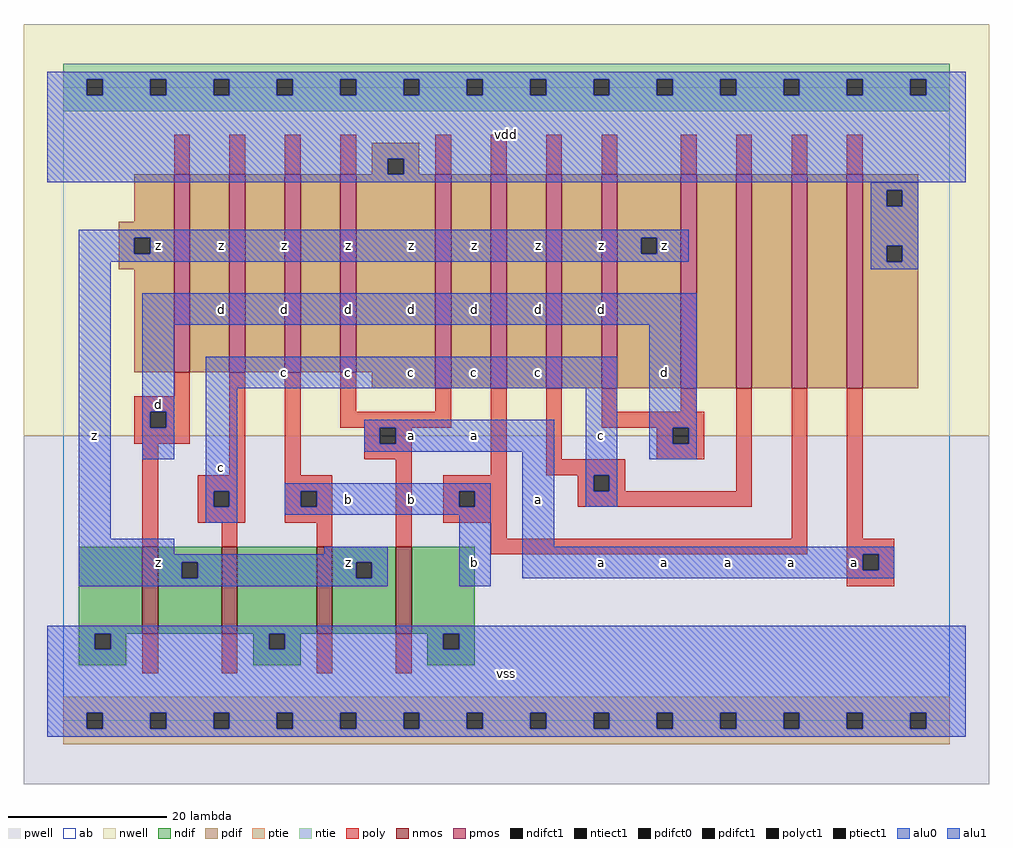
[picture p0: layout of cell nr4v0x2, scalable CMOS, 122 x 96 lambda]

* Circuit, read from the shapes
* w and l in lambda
.subckt nr4v0x2 a b c d vdd vss z
M1 z d vss vss nfet w=11 l=2
M2 vss c z vss nfet w=11 l=2
M3 z b vss vss nfet w=11 l=2
M4 vss a z vss nfet w=11 l=2
M5 n1 d z vdd pfet w=25 l=2
M6 n2 c n1 vdd pfet w=25 l=2
M7 n3 b n2 vdd pfet w=25 l=2
M8 vdd a n3 vdd pfet w=25 l=2
M9 n4 a vdd vdd pfet w=27 l=2
M10 n5 b n4 vdd pfet w=27 l=2
M11 n6 c n5 vdd pfet w=27 l=2
M12 z d n6 vdd pfet w=27 l=2
M13 n7 d z vdd pfet w=27 l=2
M14 n8 c n7 vdd pfet w=27 l=2
M15 n9 b n8 vdd pfet w=27 l=2
M16 vdd a n9 vdd pfet w=27 l=2
.ends

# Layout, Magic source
magic
tech scmos
<< ab >>
rect 0 0 112 80
<< nwell >>
rect -5 36 117 88
<< pwell >>
rect -5 -8 117 36
<< poly >>
rect 14 69 16 74
rect 21 69 23 74
rect 28 69 30 74
rect 35 69 37 74
rect 47 69 49 74
rect 54 69 56 74
rect 61 69 63 74
rect 68 69 70 74
rect 78 69 80 74
rect 85 69 87 74
rect 92 69 94 74
rect 99 69 101 74
rect 14 41 16 44
rect 9 39 16 41
rect 9 37 11 39
rect 13 37 16 39
rect 9 35 16 37
rect 10 22 12 35
rect 21 31 23 44
rect 17 29 23 31
rect 17 27 19 29
rect 21 27 23 29
rect 17 25 23 27
rect 28 31 30 44
rect 35 39 37 44
rect 47 39 49 42
rect 35 37 49 39
rect 38 35 40 37
rect 42 35 44 37
rect 38 33 44 35
rect 28 29 34 31
rect 28 27 30 29
rect 32 27 34 29
rect 28 25 34 27
rect 20 22 22 25
rect 32 22 34 25
rect 42 22 44 33
rect 54 31 56 42
rect 61 33 63 42
rect 68 39 70 42
rect 78 39 80 42
rect 68 37 81 39
rect 75 35 77 37
rect 79 35 81 37
rect 75 33 81 35
rect 61 31 71 33
rect 48 29 56 31
rect 48 27 50 29
rect 52 27 56 29
rect 65 29 67 31
rect 69 29 71 31
rect 85 29 87 42
rect 65 27 87 29
rect 48 25 56 27
rect 54 23 56 25
rect 92 23 94 42
rect 54 21 94 23
rect 99 23 101 42
rect 99 21 105 23
rect 99 19 101 21
rect 103 19 105 21
rect 99 17 105 19
rect 10 6 12 11
rect 20 6 22 11
rect 32 6 34 11
rect 42 6 44 11
<< ndif >>
rect 2 11 10 22
rect 12 20 20 22
rect 12 18 15 20
rect 17 18 20 20
rect 12 11 20 18
rect 22 11 32 22
rect 34 20 42 22
rect 34 18 37 20
rect 39 18 42 20
rect 34 11 42 18
rect 44 11 52 22
rect 2 9 4 11
rect 6 9 8 11
rect 2 7 8 9
rect 24 9 26 11
rect 28 9 30 11
rect 24 7 30 9
rect 46 9 48 11
rect 50 9 52 11
rect 46 7 52 9
<< pdif >>
rect 39 71 45 73
rect 39 69 41 71
rect 43 69 45 71
rect 9 63 14 69
rect 7 61 14 63
rect 7 59 9 61
rect 11 59 14 61
rect 7 57 14 59
rect 9 44 14 57
rect 16 44 21 69
rect 23 44 28 69
rect 30 44 35 69
rect 37 44 47 69
rect 39 42 47 44
rect 49 42 54 69
rect 56 42 61 69
rect 63 42 68 69
rect 70 61 78 69
rect 70 59 73 61
rect 75 59 78 61
rect 70 42 78 59
rect 80 42 85 69
rect 87 42 92 69
rect 94 42 99 69
rect 101 67 108 69
rect 101 65 104 67
rect 106 65 108 67
rect 101 60 108 65
rect 101 58 104 60
rect 106 58 108 60
rect 101 42 108 58
<< alu1 >>
rect -2 81 114 82
rect -2 79 3 81
rect 5 79 11 81
rect 13 79 19 81
rect 21 79 27 81
rect 29 79 35 81
rect 37 79 43 81
rect 45 79 51 81
rect 53 79 59 81
rect 61 79 67 81
rect 69 79 75 81
rect 77 79 83 81
rect 85 79 91 81
rect 93 79 99 81
rect 101 79 107 81
rect 109 79 114 81
rect -2 71 114 79
rect -2 69 41 71
rect 43 69 114 71
rect -2 68 114 69
rect 2 61 79 62
rect 2 59 9 61
rect 11 59 73 61
rect 75 59 79 61
rect 2 58 79 59
rect 2 23 6 58
rect 10 50 80 54
rect 10 39 14 50
rect 10 37 11 39
rect 13 37 14 39
rect 10 33 14 37
rect 18 42 70 46
rect 18 29 22 42
rect 38 37 62 38
rect 38 35 40 37
rect 42 35 62 37
rect 38 34 62 35
rect 18 27 19 29
rect 21 27 22 29
rect 18 25 22 27
rect 28 29 54 30
rect 28 27 30 29
rect 32 27 50 29
rect 52 27 54 29
rect 28 26 54 27
rect 2 21 14 23
rect 33 21 41 22
rect 2 20 41 21
rect 2 18 15 20
rect 17 18 37 20
rect 39 18 41 20
rect 2 17 41 18
rect 50 17 54 26
rect 58 22 62 34
rect 66 31 70 42
rect 74 37 80 50
rect 74 35 77 37
rect 79 35 80 37
rect 74 33 80 35
rect 66 29 67 31
rect 69 29 70 31
rect 66 27 70 29
rect 58 21 105 22
rect 58 19 101 21
rect 103 19 105 21
rect 58 18 105 19
rect -2 11 114 12
rect -2 9 4 11
rect 6 9 26 11
rect 28 9 48 11
rect 50 9 114 11
rect -2 1 114 9
rect -2 -1 3 1
rect 5 -1 11 1
rect 13 -1 19 1
rect 21 -1 27 1
rect 29 -1 35 1
rect 37 -1 43 1
rect 45 -1 51 1
rect 53 -1 59 1
rect 61 -1 67 1
rect 69 -1 75 1
rect 77 -1 83 1
rect 85 -1 91 1
rect 93 -1 99 1
rect 101 -1 107 1
rect 109 -1 114 1
rect -2 -2 114 -1
<< ptie >>
rect 0 1 112 3
rect 0 -1 3 1
rect 5 -1 11 1
rect 13 -1 19 1
rect 21 -1 27 1
rect 29 -1 35 1
rect 37 -1 43 1
rect 45 -1 51 1
rect 53 -1 59 1
rect 61 -1 67 1
rect 69 -1 75 1
rect 77 -1 83 1
rect 85 -1 91 1
rect 93 -1 99 1
rect 101 -1 107 1
rect 109 -1 112 1
rect 0 -3 112 -1
<< ntie >>
rect 0 81 112 83
rect 0 79 3 81
rect 5 79 11 81
rect 13 79 19 81
rect 21 79 27 81
rect 29 79 35 81
rect 37 79 43 81
rect 45 79 51 81
rect 53 79 59 81
rect 61 79 67 81
rect 69 79 75 81
rect 77 79 83 81
rect 85 79 91 81
rect 93 79 99 81
rect 101 79 107 81
rect 109 79 112 81
rect 0 77 112 79
<< nmos >>
rect 10 11 12 22
rect 20 11 22 22
rect 32 11 34 22
rect 42 11 44 22
<< pmos >>
rect 14 44 16 69
rect 21 44 23 69
rect 28 44 30 69
rect 35 44 37 69
rect 47 42 49 69
rect 54 42 56 69
rect 61 42 63 69
rect 68 42 70 69
rect 78 42 80 69
rect 85 42 87 69
rect 92 42 94 69
rect 99 42 101 69
<< polyct1 >>
rect 11 37 13 39
rect 19 27 21 29
rect 40 35 42 37
rect 30 27 32 29
rect 77 35 79 37
rect 50 27 52 29
rect 67 29 69 31
rect 101 19 103 21
<< ndifct1 >>
rect 15 18 17 20
rect 37 18 39 20
rect 4 9 6 11
rect 26 9 28 11
rect 48 9 50 11
<< ntiect1 >>
rect 3 79 5 81
rect 11 79 13 81
rect 19 79 21 81
rect 27 79 29 81
rect 35 79 37 81
rect 43 79 45 81
rect 51 79 53 81
rect 59 79 61 81
rect 67 79 69 81
rect 75 79 77 81
rect 83 79 85 81
rect 91 79 93 81
rect 99 79 101 81
rect 107 79 109 81
<< ptiect1 >>
rect 3 -1 5 1
rect 11 -1 13 1
rect 19 -1 21 1
rect 27 -1 29 1
rect 35 -1 37 1
rect 43 -1 45 1
rect 51 -1 53 1
rect 59 -1 61 1
rect 67 -1 69 1
rect 75 -1 77 1
rect 83 -1 85 1
rect 91 -1 93 1
rect 99 -1 101 1
rect 107 -1 109 1
<< pdifct0 >>
rect 104 65 106 67
rect 104 58 106 60
<< pdifct1 >>
rect 41 69 43 71
rect 9 59 11 61
rect 73 59 75 61
<< alu0 >>
rect 102 67 108 68
rect 102 65 104 67
rect 106 65 108 67
rect 102 60 108 65
rect 102 58 104 60
rect 106 58 108 60
rect 102 57 108 58
<< labels >>
rlabel alu1 12 20 12 20 6 z
rlabel alu1 4 36 4 36 6 z
rlabel alu1 12 40 12 40 6 d
rlabel alu1 12 60 12 60 6 z
rlabel alu1 36 20 36 20 6 z
rlabel alu1 36 28 36 28 6 b
rlabel alu1 20 32 20 32 6 c
rlabel alu1 28 44 28 44 6 c
rlabel alu1 36 44 36 44 6 c
rlabel alu1 28 52 28 52 6 d
rlabel alu1 36 52 36 52 6 d
rlabel alu1 20 52 20 52 6 d
rlabel alu1 20 60 20 60 6 z
rlabel alu1 28 60 28 60 6 z
rlabel alu1 36 60 36 60 6 z
rlabel alu1 56 6 56 6 6 vss
rlabel alu1 44 28 44 28 6 b
rlabel alu1 52 20 52 20 6 b
rlabel alu1 60 28 60 28 6 a
rlabel alu1 44 36 44 36 6 a
rlabel alu1 44 44 44 44 6 c
rlabel alu1 52 36 52 36 6 a
rlabel alu1 52 44 52 44 6 c
rlabel alu1 60 44 60 44 6 c
rlabel alu1 52 52 52 52 6 d
rlabel alu1 60 52 60 52 6 d
rlabel alu1 44 52 44 52 6 d
rlabel alu1 44 60 44 60 6 z
rlabel alu1 52 60 52 60 6 z
rlabel alu1 60 60 60 60 6 z
rlabel alu1 56 74 56 74 6 vdd
rlabel alu1 68 20 68 20 6 a
rlabel alu1 76 20 76 20 6 a
rlabel alu1 84 20 84 20 6 a
rlabel alu1 68 36 68 36 6 c
rlabel alu1 76 44 76 44 6 d
rlabel alu1 68 52 68 52 6 d
rlabel alu1 68 60 68 60 6 z
rlabel alu1 76 60 76 60 6 z
rlabel alu1 92 20 92 20 6 a
rlabel alu1 100 20 100 20 6 a
<< end >>
